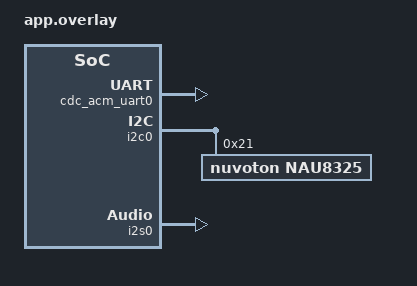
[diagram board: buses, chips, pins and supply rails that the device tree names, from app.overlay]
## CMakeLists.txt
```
# SPDX-License-Identifier: Apache-2.0

cmake_minimum_required(VERSION 3.20.0)

list(APPEND ZEPHYR_EXTRA_MODULES
    ${CMAKE_CURRENT_SOURCE_DIR}/drivers/nau8325
    )

find_package(Zephyr REQUIRED HINTS $ENV{ZEPHYR_BASE})
project(audio)

zephyr_library_include_directories(
    src/audio
)

add_subdirectory(src/audio)

set(SOURCES
    src/main.c
    )

target_sources(app PRIVATE ${SOURCES})
```

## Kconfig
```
source "Kconfig.zephyr"

menuconfig RUMBLEPACK_AUDIO
bool "Rumblepack Config"

if RUMBLEPACK_AUDIO

config AUDIO_BIT_DEPTH_OCTETS
int "Audio bit depth in bytes"
    default 2

config CONFIG_AUDIO_BIT_DEPTH_BITS
int "Audio bit depth in bits"
    default 16

config AUDIO_SAMPLE_RATE_HZ
int "Sample rate in Hz"
    default 48000

config FIFO_FRAME_SPLIT_NUM
int "Duration of frames to split in ms"
    default 10

config I2S_LRCK_FREQ_HZ
int "LRCK Freqeuncy, should be same as sample rate"
    default AUDIO_SAMPLE_RATE_HZ

config I2S_CH_NUM
int "Number of channels"
    default 2

config AUDIO_MAX_PRES_DLY_US
int "Maximum delay in us"
    default 60000

endif # RUMBLEPACK_AUDIO
```

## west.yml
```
manifest:
  remotes:
    - name: ncs
      url-base: https://github.com/nrfconnect
    - name: nanopb
      url-base: https://github.com/nanopb
  projects:
    - name: sdk-nrf
      remote: ncs
      path: nrf
      revision: v2.7.0
      import: true
      clone-depth: 1
    - name: nanopb
      repo-path: nanopb
      revision: 0.4.7
      path: rumble/ext/nanopb
      remote: nanopb
  self:
    path: rumble
```

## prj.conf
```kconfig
CONFIG_BOOTLOADER_MCUBOOT=y
CONFIG_BT=y
CONFIG_BT_HCI_RAW=y

CONFIG_PINCTRL=y
CONFIG_CLOCK_CONTROL_NRF_K32SRC_RC=n
CONFIG_CLOCK_CONTROL_NRF_K32SRC_XTAL=y
CONFIG_NRF53_SYNC_RTC=n
CONFIG_DEBUG_THREAD_INFO=n
CONFIG_DEBUG_OPTIMIZATIONS=n
# CONFIG_THREAD_NAME=y
# CONFIG_SCHED_CPU_MASK=y
# CONFIG_THREAD_ANALYZER=y
# CONFIG_NRF_USBD_COMMON=y
CONFIG_STDOUT_CONSOLE=n

#USB related configs
CONFIG_USB_DEVICE_STACK=y
CONFIG_USB_DEVICE_PRODUCT="Rumblejack"
CONFIG_USB_DEVICE_MANUFACTURER="Jom"
CONFIG_USB_DEVICE_INITIALIZE_AT_BOOT=n

#USB audio related configs
CONFIG_USB_DEVICE_AUDIO=y

#LOG subsystem related configs
CONFIG_LOG=n
# CONFIG_USB_DRIVER_LOG_LEVEL_INF=y
# CONFIG_USB_DEVICE_LOG_LEVEL_INF=y
CONFIG_CONSOLE=n
# CONFIG_USE_SEGGER_RTT=y
# CONFIG_RTT_CONSOLE=y
# CONFIG_LOG_MODE_DEFERRED=y

CONFIG_I2C_NRFX=y

#net buf options
CONFIG_NET_BUF=y

# GPIO
CONFIG_GPIO=y

# I2C
CONFIG_I2C=y

# I2S
CONFIG_I2S=y

CONFIG_NAU8325=y
CONFIG_USB_NRFX_WORK_QUEUE_STACK_SIZE=4096
CONFIG_USB_NRFX_EVT_QUEUE_SIZE=64
CONFIG_USB_DEVICE_VID=0xFACE
CONFIG_USB_DEVICE_PID=0xB00C
```

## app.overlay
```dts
/*
 * Copyright (c) 2019 Nordic Semiconductor ASA
 *
 * SPDX-License-Identifier: Apache-2.0
 */

&zephyr_udc0 {
	hp_0 {
		compatible = "usb-audio-hp";
		feature-mute;
		channel-l;
		channel-r;		
		
		feature-volume;
		volume-max = <0x0500>;
		volume-min = <0xBA00>;
		volume-res = <0x100>;
	};
};

&i2c0 {
	status="okay";

	nau8325: nau8325@21 {
		compatible = "nuvoton,nau8325";
		reg = <0x21>;
	};
};

&i2s0 {
	status="okay";
};

&clock {
	hfclkaudio-frequency = < 12288000 >;
};

&zephyr_udc0 {
	cdc_acm_uart0: cdc_acm_uart0 {
		compatible = "zephyr,cdc-acm-uart";
	};
};
```

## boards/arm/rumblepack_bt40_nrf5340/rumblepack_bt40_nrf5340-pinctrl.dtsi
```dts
&pinctrl{
    i2c0_default: i2c0_default {
		group1 {
			psels = <NRF_PSEL(TWIM_SDA, 1, 3)>,
				    <NRF_PSEL(TWIM_SCL, 1, 2)>;
            bias-disable;
		};
	};

	i2c0_sleep: i2c0_sleep {
		group1 {
			psels = <NRF_PSEL(TWIM_SDA, 1, 3)>,
				    <NRF_PSEL(TWIM_SCL, 1, 2)>;
			low-power-enable;
		};
	};

    i2s0_default: i2s0_default {
        group1 {
            psels = <NRF_PSEL(I2S_SCK_M, 0, 2)>,
                    <NRF_PSEL(I2S_MCK, 0, 3)>,
                    <NRF_PSEL(I2S_SDOUT, 0, 5)>,
                    <NRF_PSEL(I2S_LRCK_M, 0, 4)>;
        };
    };
    i2s0_sleep: i2s0_sleep {
        group1 {
            psels = <NRF_PSEL(I2S_SCK_M, 0, 2)>,
                    <NRF_PSEL(I2S_MCK, 0, 3)>,
                    <NRF_PSEL(I2S_SDOUT, 0, 5)>,
                    <NRF_PSEL(I2S_LRCK_M, 0, 4)>;
            low-power-enable;
        };
    };
};
```

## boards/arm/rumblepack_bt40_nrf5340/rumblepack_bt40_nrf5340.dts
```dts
// Copyright (c) 2023 Nordic Semiconductor ASA
// SPDX-License-Identifier: Apache-2.0

/dts-v1/;
#include <nordic/nrf5340_cpuapp_qkaa.dtsi>
#include "rumblepack_bt40_nrf5340-pinctrl.dtsi"

/ {
	model = "rumblepack_BT40_nrf5340";
	compatible = "jom,rumblepack-bt40-nrf5340";

	chosen {
		zephyr,sram = &sram0;
		zephyr,flash = &flash0;
		zephyr,code-partition = &slot0_partition;
        zephyr,ipc_shm = &sram0_shared;
    };
	
    reserved-memory {
        #address-cells = <1>;
        #size-cells = <1>;
        ranges;


        //sram0_ns: image_ns@20000000 {
            /* Non-Secure image memory */
        //};
        sram0_shared: memory@20070000 {
            /* SRAM allocated to shared memory */
            reg = <0x20070000 0x10000>;
        };
    };

	leds {
		compatible = "gpio-leds";

		led0: led_0 {
			gpios = < &gpio0 11 GPIO_ACTIVE_LOW >;
			label = "Status LED";
		};
	};

	buttons {
		compatible = "gpio-keys";

		button0: button_0 {
			gpios = < &gpio0 30 (GPIO_PULL_UP | GPIO_ACTIVE_LOW) >;
			label = "DFU Switch";
		};
	};

	aliases {
		led0 = &led0;
		sw0 = &button0;
	};
};

&gpiote {
	status = "okay";
};

&gpio0 {
	status = "okay";
};

&i2s0 {
	status = "okay";
	pinctrl-0 = <&i2s0_default>;
	pinctrl-1 = <&i2s0_sleep>;
	pinctrl-names = "default", "sleep";
	clock-source = "ACLK";
};

&i2c0 {
	compatible = "nordic,nrf-twim";
	status = "okay";
	pinctrl-0 = <&i2c0_default>;
	pinctrl-1 = <&i2c0_sleep>;
	pinctrl-names = "default", "sleep";
};

&clock {
	hfclkaudio-frequency = < 12288000 >;
};


&flash0 {
	partitions {
		compatible = "fixed-partitions";
		#address-cells = <1>;
		#size-cells = <1>;

		boot_partition: partition@0 {
			label = "mcuboot";
			reg = <0x0 0x10000>;
		};
		slot0_partition: partition@10000 {
			label = "image-0";
			reg = <0x10000 0x40000>;
		};
		slot0_ns_partition: partition@50000 {
			label = "image-0-nonsecure";
			reg = <0x50000 0x30000>;
		};
		slot1_partition: partition@80000 {
			label = "image-1";
			reg = <0x80000 0x40000>;
		};
		slot1_ns_partition: partition@c0000 {
			label = "image-1-nonsecure";
			reg = <0xc0000 0x30000>;
		};
		scratch_partition: partition@f0000 {
			label = "image-scratch";
			reg = <0xf0000 0xa000>;
		};
		storage_partition: partition@fa000 {
			label = "storage";
			reg = <0xfa000 0x6000>;
		};
	};
};

zephyr_udc0: &usbd {
	compatible = "nordic,nrf-usbd";
	status = "okay";
};
```

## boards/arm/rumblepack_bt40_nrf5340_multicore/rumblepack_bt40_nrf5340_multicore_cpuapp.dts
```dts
/*
 * Copyright (c) 2020 Nordic Semiconductor ASA
 *
 * SPDX-License-Identifier: Apache-2.0
 */

/dts-v1/;
#include <nordic/nrf5340_cpuapp_qkaa.dtsi>
#include "rumblepack_bt40_nrf5340_multicore_cpuapp_common.dtsi"

/ {
	model = "Rumblepack BT40 nRF5340 Multicore NRF5340 Application";
	compatible = "jom,rumblepack-bt40-nrf5340-multicore-cpuapp";

	chosen {
		zephyr,sram = &sram0_image;
		zephyr,flash = &flash0;
		zephyr,code-partition = &slot0_partition;
		zephyr,sram-secure-partition = &sram0_s;
		zephyr,sram-non-secure-partition = &sram0_ns;
	};
};

&uicr {
	nfct-pins-as-gpios;
};
```

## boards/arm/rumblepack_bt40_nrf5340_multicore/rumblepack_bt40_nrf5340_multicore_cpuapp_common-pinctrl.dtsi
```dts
/*
 * Copyright (c) 2022 Nordic Semiconductor ASA
 *
 * SPDX-License-Identifier: Apache-2.0
 */

&pinctrl {
	i2c0_default: i2c0_default {
		group1 {
			psels = <NRF_PSEL(TWIM_SDA, 1, 3)>,
				    <NRF_PSEL(TWIM_SCL, 1, 2)>;
            bias-disable;
		};
	};

	i2c0_sleep: i2c0_sleep {
		group1 {
			psels = <NRF_PSEL(TWIM_SDA, 1, 3)>,
				    <NRF_PSEL(TWIM_SCL, 1, 2)>;
			low-power-enable;
		};
	};

    i2s0_default: i2s0_default {
        group1 {
            psels = <NRF_PSEL(I2S_SCK_M, 0, 2)>,
                    <NRF_PSEL(I2S_MCK, 0, 3)>,
                    <NRF_PSEL(I2S_SDOUT, 0, 5)>,
                    <NRF_PSEL(I2S_LRCK_M, 0, 4)>;
        };
    };
    i2s0_sleep: i2s0_sleep {
        group1 {
            psels = <NRF_PSEL(I2S_SCK_M, 0, 2)>,
                    <NRF_PSEL(I2S_MCK, 0, 3)>,
                    <NRF_PSEL(I2S_SDOUT, 0, 5)>,
                    <NRF_PSEL(I2S_LRCK_M, 0, 4)>;
            low-power-enable;
        };
    };
};
```

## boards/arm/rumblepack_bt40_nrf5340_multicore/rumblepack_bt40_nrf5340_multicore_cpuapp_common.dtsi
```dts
/*
 * Copyright (c) 2020-2022 Nordic Semiconductor ASA
 *
 * SPDX-License-Identifier: Apache-2.0
 */
#include "rumblepack_bt40_nrf5340_multicore_cpuapp_common-pinctrl.dtsi"

/ {
	chosen {
		zephyr,bt-hci-ipc = &ipc0;
		watchdog0 = &wdt0;
	};
};

&gpiote {
	status = "okay";
};

&gpio0 {
	status = "okay";
};

&i2s0 {
	status = "okay";
	pinctrl-0 = <&i2s0_default>;
	pinctrl-1 = <&i2s0_sleep>;
	pinctrl-names = "default", "sleep";
	clock-source = "ACLK";
};

&i2c0 {
	compatible = "nordic,nrf-twim";
	status = "okay";
	pinctrl-0 = <&i2c0_default>;
	pinctrl-1 = <&i2c0_sleep>;
	pinctrl-names = "default", "sleep";
};

&clock {
	hfclkaudio-frequency = < 12288000 >;
};

&flash0 {
	partitions {
		compatible = "fixed-partitions";
		#address-cells = <1>;
		#size-cells = <1>;

		boot_partition: partition@0 {
			label = "mcuboot";
			reg = <0x00000000 0x00010000>;
		};
		slot0_partition: partition@10000 {
			label = "image-0";
		};
		slot0_ns_partition: partition@50000 {
			label = "image-0-nonsecure";
		};
		slot1_partition: partition@80000 {
			label = "image-1";
		};
		slot1_ns_partition: partition@c0000 {
			label = "image-1-nonsecure";
		};
		storage_partition: partition@fa000 {
			label = "storage";
			reg = <0x000fa000 0x00006000>;
		};
	};
};

/ {
	reserved-memory {
		#address-cells = <1>;
		#size-cells = <1>;
		ranges;

		sram0_image: image@20000000 {
			/* Zephyr image(s) memory */
		};

		sram0_s: image_s@20000000 {
			/* Secure image memory */
		};

		sram0_ns: image_ns@20040000 {
			/* Non-Secure image memory */
		};
	};
};

zephyr_udc0: &usbd {
	compatible = "nordic,nrf-usbd";
	status = "okay";
};

/* Include partition configuration file */
#include "rumblepack_bt40_nrf5340_multicore_cpuapp_partition_conf.dtsi"
#include "rumblepack_bt40_nrf5340_multicore_shared.dtsi"
```

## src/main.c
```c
/*
 * Copyright (c) 2020 Nordic Semiconductor ASA
 *
 * SPDX-License-Identifier: Apache-2.0
 */

/**
 * @file
 * @brief Sample app for Audio class
 */

#include <zephyr/kernel.h>
#include <zephyr/init.h>
#include <zephyr/drivers/gpio.h>

#include <zephyr/logging/log.h>
#include <zephyr/usb/usb_device.h>
#include <zephyr/usb/class/usb_audio.h>
#include <zephyr/usb/class/usb_hid.h>

#include <nrfx_nvmc.h>

#include <nau8325.h>
#include <zephyr/drivers/i2s.h>

LOG_MODULE_REGISTER(main, LOG_LEVEL_INF);

// static const struct device *const mic_dev = DEVICE_DT_GET_ONE(usb_audio_mic);
static const struct gpio_dt_spec led = GPIO_DT_SPEC_GET(DT_ALIAS(led0), gpios);
static const struct gpio_dt_spec button = GPIO_DT_SPEC_GET(DT_ALIAS(sw0), gpios);
static struct gpio_callback button_cb_data;
static const struct device *const audio_output_dev = DEVICE_DT_GET(DT_INST(0, nuvoton_nau8325));
static const struct device *const i2s_dev = DEVICE_DT_GET(DT_N_NODELABEL_i2s0);

#define NUM_SAMPLES 48
static int16_t data_l[NUM_SAMPLES] = {
	  6392,  12539,  18204,  23169,  27244,  30272,  32137,  32767,  32137,
	 30272,  27244,  23169,  18204,  12539,   6392,      0,  -6393, -12540,
	-18205, -23170, -27245, -30273, -32138, -32767, -32138, -30273, -27245,
	-23170, -18205, -12540,  -6393,     -1,
};
static int16_t data_r[NUM_SAMPLES] = {
	 12539,  23169,  30272,  32767,  30272,  23169,  12539,      0, -12540,
	-23170, -30273, -32767, -30273, -23170, -12540,     -1,  12539,  23169,
	 30272,  32767,  30272,  23169,  12539,      0, -12540, -23170, -30273,
	-32767, -30273, -23170, -12540,     -1,
};
#define BLOCK_SIZE (2 * sizeof(data_l))
#define NUM_BLOCKS 5

#define NUM_VOLUME_LEVELS 5
static uint16_t volumes[NUM_VOLUME_LEVELS] = {1, 2, 4, 8, 16};
static uint8_t next_volume_level = 0;
static uint8_t current_volume_level = 0;

// 48 uint16 * 2 channels = 48 * 2 * 2 = 192 bytes
static K_MEM_SLAB_DEFINE(mem_slab, BLOCK_SIZE, NUM_BLOCKS, 32);
void *mem_blocks;

static void data_received(const struct device *dev,
			  struct net_buf *buffer,
			  size_t size)
{
	if (!buffer || !size) {
		/* This should never happen */
		return;
	}

	// if (size < 192)
	// {
	// 	net_buf_unref(buffer);
	// 	return;
	// }

	if (size != 192)
	{
		LOG_ERR("Buffer not 192, got %d", size);
		net_buf_unref(buffer);
		return;
	}


	LOG_DBG("Received %d data, buffer %p", size, buffer);

	if (mem_blocks != NULL)
	{
		for (int i = 0; i < size; i++) {
			((uint8_t*)mem_blocks)[i] = buffer->data[i];
		}

		int res = 0;
		
		if (device_is_ready(i2s_dev))
		{
			res = i2s_trigger(i2s_dev, I2S_DIR_TX, I2S_TRIGGER_PREPARE);

			res = i2s_buf_write(i2s_dev, mem_blocks, BLOCK_SIZE);
			if (res < 0) {
				LOG_INF("Error: i2s_write failed with %d\n", res);
			}

			res = i2s_trigger(i2s_dev, I2S_DIR_TX, I2S_TRIGGER_START);
		}
	}
	
	net_buf_unref(buffer);

	if (next_volume_level != current_volume_level)
	{
		nau8325_write_reg(audio_output_dev, 0x63, volumes[next_volume_level]); // ANALOG_CONTROL_3, volume
		LOG_INF("Setting volume to: %d at %d", volumes[next_volume_level], next_volume_level);
		current_volume_level = next_volume_level;
	}
}

static void feature_update(const struct device *dev,
			   const struct usb_audio_fu_evt *evt)
{
	int16_t val = 0;
	LOG_DBG("Control selector %d for channel %d updated",
		evt->cs, evt->channel);
	switch (evt->cs) {
	case USB_AUDIO_FU_MUTE_CONTROL:
		val = *((int16_t *)(evt->val));
		// val = 1, mute
		// val = 0, 256, unmute
		LOG_INF("Mute control: %d, len: %d", val, evt->val_len);
		break;
	case USB_AUDIO_FU_VOLUME_CONTROL:
		val = *((int16_t *)(evt->val));
		// val = -14592, -12800, ... 0, 256, 512, 768, 1024, 1280
		LOG_INF("Volume control: %d, len: %d", val, evt->val_len);
		break;
	default:
		break;
	}
}

static const struct usb_audio_ops hp_ops = {
	.data_received_cb = data_received,
	.feature_update_cb = feature_update,
};

static const struct usb_audio_ops mic_ops = {
	.feature_update_cb = feature_update,
};

void button_pressed(const struct device *dev, struct gpio_callback *cb, uint32_t pins)
{
	next_volume_level = (current_volume_level + 1) % NUM_VOLUME_LEVELS;
}

int main(void)
{
#if 0 // nrf52840
	if (NRF_UICR->REGOUT0 != UICR_REGOUT0_VOUT_3V3)
	{
		NRF_NVMC->CONFIG = NVMC_CONFIG_WEN_Wen << NVMC_CONFIG_WEN_Pos;
		while (NRF_NVMC->READY == NVMC_READY_READY_Busy)
		{
		}
		NRF_UICR->REGOUT0 = UICR_REGOUT0_VOUT_3V3;

		NRF_NVMC->CONFIG = NVMC_CONFIG_WEN_Ren << NVMC_CONFIG_WEN_Pos;
		while (NRF_NVMC->READY == NVMC_READY_READY_Busy)
		{
		}
	}
#else // nrf5340
	if (NRF_UICR->VREGHVOUT != UICR_VREGHVOUT_VREGHVOUT_3V3)
	{
		NRF_NVMC->CONFIG = NVMC_CONFIG_WEN_Wen << NVMC_CONFIG_WEN_Pos;
		while (NRF_NVMC->READY == NVMC_READY_READY_Busy)
		{
		}
		NRF_UICR->VREGHVOUT = UICR_VREGHVOUT_VREGHVOUT_3V3;

		NRF_NVMC->CONFIG = NVMC_CONFIG_WEN_Ren << NVMC_CONFIG_WEN_Pos;
		while (NRF_NVMC->READY == NVMC_READY_READY_Busy)
		{
		}
	}
#endif

	if (!device_is_ready(led.port))
	{
		LOG_ERR("LED not ready");
		return 0;
	}

	gpio_pin_configure_dt(&led, GPIO_OUTPUT_ACTIVE);
	gpio_pin_set_dt(&led, 0);
	k_msleep(100);
	gpio_pin_set_dt(&led, 1);
	k_msleep(50);
	gpio_pin_set_dt(&led, 0);
	k_msleep(25);
	gpio_pin_set_dt(&led, 1);
	k_msleep(12);
	gpio_pin_set_dt(&led, 0);
	k_msleep(5);
	gpio_pin_set_dt(&led, 1);
	k_msleep(1);
	gpio_pin_set_dt(&led, 0);

	const struct device *const hp_dev = DEVICE_DT_GET_ONE(usb_audio_hp);
	int ret;

	LOG_INF("Entered %s", __func__);

	if (!device_is_ready(hp_dev)) {
		LOG_ERR("Device USB Headphones is not ready");
		return 0;
	}

	LOG_INF("Found USB Headphones Device");

	usb_audio_register(hp_dev, &hp_ops);

	ret = usb_enable(NULL);
	if (ret != 0) {
		LOG_ERR("Failed to enable USB");
		return 0;
	}

	gpio_pin_configure_dt(&led, GPIO_OUTPUT_ACTIVE);
	gpio_pin_set_dt(&led, 0);
	k_msleep(100);
	gpio_pin_set_dt(&led, 1);
	k_msleep(50);
	gpio_pin_set_dt(&led, 0);
	k_msleep(25);
	gpio_pin_set_dt(&led, 1);
	k_msleep(12);
	gpio_pin_set_dt(&led, 0);
	k_msleep(5);
	gpio_pin_set_dt(&led, 1);
	k_msleep(1);
	gpio_pin_set_dt(&led, 0);

	if (!device_is_ready(audio_output_dev)) {
		LOG_ERR("Could not initialize audio device!");
	}

	uint16_t value;

	int res = nau8325_write_reg(audio_output_dev, 0x0, 42); // Software Reset
	nau8325_read_reg(audio_output_dev, 0x2, &value);
	LOG_INF("Result: %d", value); // Should be 0x21F2
	nau8325_write_reg(audio_output_dev, 0x0D, 0b0000000000000010); // 16 bit I2S
	nau8325_write_reg(audio_output_dev, 0x40, 0b1010100000000001); // DAC data does not gate power up
	nau8325_write_reg(audio_output_dev, 0x65, 0b0000000000000111); // enable 8x MCLK and extra multipliers
	nau8325_write_reg(audio_output_dev, 0x03, 0b0000000000100000); // MCLK x8
	nau8325_write_reg(audio_output_dev, 0x61, 0b0001010101010101); // Enable everything through clock detection
	nau8325_write_reg(audio_output_dev, 0x63, 0b0000000000000001); // ANALOG_CONTROL_3, volume
	nau8325_write_reg(audio_output_dev, 0x04, 0b0000000000001100); // Enable L and R DAC (required)
	nau8325_write_reg(audio_output_dev, 0x13, 0xf3f3); // DAC Volume
	nau8325_write_reg(audio_output_dev, 0x73, 0x0); // Unregulated DAC

	LOG_INF("USB enabled");

	if (!gpio_is_ready_dt(&button))
	{
		LOG_INF("%s is not ready\n", button.port->name);
		return 0;
	}

	ret = gpio_pin_configure_dt(&button, GPIO_INPUT);
	if (ret != 0) {
		LOG_INF("Error %d: failed to configure %s pin %d\n",
		       ret, button.port->name, button.pin);
		return 0;
	}

	ret = gpio_pin_interrupt_configure_dt(&button,
					      GPIO_INT_EDGE_TO_INACTIVE);
	if (ret != 0) {
		LOG_INF("Error %d: failed to configure interrupt on %s pin %d\n",
			ret, button.port->name, button.pin);
		return 0;
	}

	gpio_init_callback(&button_cb_data, button_pressed, BIT(button.pin));
	gpio_add_callback(button.port, &button_cb_data);

	const struct device *i2s_dev = DEVICE_DT_GET(DT_NODELABEL(i2s0));
	if (!device_is_ready(i2s_dev)) {
		LOG_INF("%s is not ready\n", i2s_dev->name);
		return 0;
	}

	/* Configure the I2S device */
	struct i2s_config i2s_cfg;
	i2s_cfg.word_size = 16; // due to int16_t in data_frame declaration
	i2s_cfg.channels = 2; // L + R channel
	i2s_cfg.format = I2S_FMT_DATA_FORMAT_I2S;
	i2s_cfg.options = I2S_OPT_BIT_CLK_MASTER | I2S_OPT_FRAME_CLK_MASTER;
	i2s_cfg.frame_clk_freq = 48000;
	i2s_cfg.mem_slab = &mem_slab;
	i2s_cfg.block_size = BLOCK_SIZE;
	i2s_cfg.timeout = 50;
	res = i2s_configure(i2s_dev, I2S_DIR_TX, &i2s_cfg);
	if (res < 0) {
		LOG_INF("Failed to configure the I2S stream: (%d)\n", res);
		return 0;
	}

	LOG_INF("i2s configured");

	res = k_mem_slab_alloc(&mem_slab, &mem_blocks, K_NO_WAIT);
	if (res < 0) {
		LOG_INF("Failed to allocate the memory blocks: %d\n", res);
		return 0;
	}

	LOG_INF("mem slab allocd");

	memset((uint16_t*)mem_blocks, 0, NUM_SAMPLES * NUM_BLOCKS);

	LOG_INF("Initialized.");

	next_volume_level = 0;

	return 0;
}
```

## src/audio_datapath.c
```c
#include "audio_datapath.h"

#include <zephyr/kernel.h>

#include "audio_i2s.h"
#include "audio_system.h"
#include "configs.h"

#include <zephyr/logging/log.h>
LOG_MODULE_REGISTER(audio_datapath, LOG_LEVEL_INF);

#define BLK_PERIOD_US 1000

/* Total sample FIFO period in microseconds */
#define FIFO_SMPL_PERIOD_US (CONFIG_AUDIO_MAX_PRES_DLY_US * 2)
#define FIFO_NUM_BLKS	    NUM_BLKS(FIFO_SMPL_PERIOD_US)
#define MAX_FIFO_SIZE	    (FIFO_NUM_BLKS * BLK_SIZE_SAMPLES(CONFIG_AUDIO_SAMPLE_RATE_HZ) * 2)

int audio_datapath_init(void)
{
	memset(&ctrl_blk, 0, sizeof(ctrl_blk));
	audio_i2s_blk_comp_cb_register(audio_datapath_i2s_blk_complete);
	audio_i2s_init();
	ctrl_blk.datapath_initialized = true;
	ctrl_blk.drift_comp.enabled = true;
	ctrl_blk.pres_comp.enabled = true;

	ctrl_blk.pres_comp.pres_delay_us = CONFIG_BT_AUDIO_PRESENTATION_DELAY_US;

	return 0;
}
```

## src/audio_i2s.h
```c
#ifndef _AUDIO_I2S_H_
#define _AUDIO_I2S_H_

#include <zephyr/kernel.h>

#include "configs.h"

#define FRAME_SIZE_BYTES                                                                           \
	((CONFIG_I2S_LRCK_FREQ_HZ / 1000 * 10) * CONFIG_I2S_CH_NUM * CONFIG_AUDIO_BIT_DEPTH_OCTETS)
#define BLOCK_SIZE_BYTES (FRAME_SIZE_BYTES / CONFIG_FIFO_FRAME_SPLIT_NUM)

/*
 * Calculate the number of samples in a block, divided by the number of samples
 * that will fit within a 32-bit word
 */
#define I2S_SAMPLES_NUM                                                                            \
	(BLOCK_SIZE_BYTES / (CONFIG_AUDIO_BIT_DEPTH_OCTETS) / (32 / CONFIG_AUDIO_BIT_DEPTH_BITS))

/**
 * @brief I2S block complete event callback type
 *
 * @param frame_start_ts I2S frame start timestamp
 * @param rx_buf_released Pointer to the released buffer containing received data
 * @param tx_buf_released Pointer to the released buffer that was used to sent data
 */
typedef void (*i2s_blk_comp_callback_t)(uint32_t frame_start_ts, uint32_t *rx_buf_released,
					uint32_t const *tx_buf_released);

/**
 * @brief Supply the buffers to be used in the next part of the I2S transfer
 *
 * @param tx_buf Pointer to the buffer with data to be sent
 * @param rx_buf Pointer to the buffer for received data
 */
void audio_i2s_set_next_buf(const uint8_t *tx_buf);

/**
 * @brief Start the continuous I2S transfer
 *
 * @param tx_buf Pointer to the buffer with data to be sent
 * @param rx_buf Pointer to the buffer for received data
 */
void audio_i2s_start(const uint8_t *tx_buf);

/**
 * @brief Stop the continuous I2S transfer
 */
void audio_i2s_stop(void);

/**
 * @brief Register callback function for I2S block complete event
 *
 * @param blk_comp_callback Callback function
 */
void audio_i2s_blk_comp_cb_register(i2s_blk_comp_callback_t blk_comp_callback);

/**
 * @brief Initialize I2S module
 */
void audio_i2s_init(void);
#endif /* _AUDIO_I2S_H_ */
```

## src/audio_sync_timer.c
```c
/*
 * Copyright (c) 2023 Nordic Semiconductor ASA
 *
 * SPDX-License-Identifier: LicenseRef-Nordic-5-Clause
 */

#include "audio_sync_timer.h"

#include <zephyr/kernel.h>
#include <zephyr/init.h>
#include <nrfx_dppi.h>
#include <nrfx_i2s.h>
#include <nrfx_ipc.h>
#include <nrfx_rtc.h>
#include <nrfx_timer.h>
#include <nrfx_egu.h>

#include <zephyr/logging/log.h>
LOG_MODULE_REGISTER(audio_sync_timer, LOG_LEVEL_INF);

#define AUDIO_SYNC_TIMER_NET_APP_IPC_EVT_CHANNEL 4
#define AUDIO_SYNC_TIMER_NET_APP_IPC_EVT	 NRF_IPC_EVENT_RECEIVE_4

#define AUDIO_SYNC_HF_TIMER_INSTANCE_NUMBER 1

#define AUDIO_SYNC_HF_TIMER_I2S_FRAME_START_EVT_CAPTURE_CHANNEL 0
#define AUDIO_SYNC_HF_TIMER_I2S_FRAME_START_EVT_CAPTURE		NRF_TIMER_TASK_CAPTURE0
#define AUDIO_SYNC_HF_TIMER_CURR_TIME_CAPTURE_CHANNEL		1
#define AUDIO_SYNC_HF_TIMER_CURR_TIME_CAPTURE			NRF_TIMER_TASK_CAPTURE1

static const nrfx_timer_t audio_sync_hf_timer_instance =
	NRFX_TIMER_INSTANCE(AUDIO_SYNC_HF_TIMER_INSTANCE_NUMBER);

static uint8_t dppi_channel_i2s_frame_start;

#define AUDIO_SYNC_LF_TIMER_INSTANCE_NUMBER 0

#define AUDIO_SYNC_LF_TIMER_I2S_FRAME_START_EVT_CAPTURE_CHANNEL 0
#define AUDIO_SYNC_LF_TIMER_I2S_FRAME_START_EVT_CAPTURE		NRF_RTC_TASK_CAPTURE_0
#define AUDIO_SYNC_LF_TIMER_CURR_TIME_CAPTURE_CHANNEL		1
#define AUDIO_SYNC_LF_TIMER_CURR_TIME_CAPTURE			NRF_RTC_TASK_CAPTURE_1

static uint8_t dppi_channel_curr_time_capture;

static const nrfx_rtc_config_t rtc_cfg = NRFX_RTC_DEFAULT_CONFIG;

static const nrfx_rtc_t audio_sync_lf_timer_instance =
	NRFX_RTC_INSTANCE(AUDIO_SYNC_LF_TIMER_INSTANCE_NUMBER);

static uint8_t dppi_channel_timer_sync_with_rtc;
static uint8_t dppi_channel_rtc_start;
static volatile uint32_t num_rtc_overflows;

static nrfx_timer_config_t cfg = {.frequency = NRFX_MHZ_TO_HZ(1UL),
				  .mode = NRF_TIMER_MODE_TIMER,
				  .bit_width = NRF_TIMER_BIT_WIDTH_32,
				  .interrupt_priority = NRFX_TIMER_DEFAULT_CONFIG_IRQ_PRIORITY,
				  .p_context = NULL};

static uint32_t timestamp_from_rtc_and_timer_get(uint32_t ticks, uint32_t remainder_us)
{
	const uint64_t rtc_ticks_in_femto_units = 30517578125UL;
	const uint32_t rtc_overflow_time_us = 512000000UL;

	return ((ticks * rtc_ticks_in_femto_units) / 1000000000UL) +
	       (num_rtc_overflows * rtc_overflow_time_us) + remainder_us;
}

uint32_t audio_sync_timer_capture(void)
{
	/* Ensure that the follow product specification statement is handled:
	 *
	 * There is a delay of 6 PCLK16M periods from when the TASKS_CAPTURE[n] is triggered
	 * until the corresponding CC[n] register is updated.
	 *
	 * Lets have a stale value in the CC[n] register and compare that it is different when
	 * we capture using DPPI.
	 *
	 * We ensure it is stale by setting it as the previous tick relative to current
	 * counter value.
	 */
	uint32_t tick_stale = nrf_rtc_counter_get(audio_sync_lf_timer_instance.p_reg);

	/* Set a stale value in the CC[n] register */
	tick_stale--;
	nrf_rtc_cc_set(audio_sync_lf_timer_instance.p_reg,
		       AUDIO_SYNC_LF_TIMER_CURR_TIME_CAPTURE_CHANNEL, tick_stale);

	/* Trigger EGU task to capture RTC and TIMER value */
	nrf_egu_task_trigger(NRF_EGU0, NRF_EGU_TASK_TRIGGER0);

	/* Read captured RTC value */
	uint32_t tick = nrf_rtc_cc_get(audio_sync_lf_timer_instance.p_reg,
				       AUDIO_SYNC_LF_TIMER_CURR_TIME_CAPTURE_CHANNEL);

	/* If required, wait until CC[n] register is updated */
	while (tick == tick_stale) {
		tick = nrf_rtc_cc_get(audio_sync_lf_timer_instance.p_reg,
				      AUDIO_SYNC_LF_TIMER_CURR_TIME_CAPTURE_CHANNEL);
	}

	/* Read captured TIMER value */
	uint32_t remainder_us =
		nrf_timer_cc_get(NRF_TIMER1, AUDIO_SYNC_HF_TIMER_CURR_TIME_CAPTURE_CHANNEL);

	return timestamp_from_rtc_and_timer_get(tick, remainder_us);
}

uint32_t audio_sync_timer_capture_get(void)
{
	uint32_t remainder_us;
	uint32_t tick;

	tick = nrf_rtc_cc_get(audio_sync_lf_timer_instance.p_reg,
			      AUDIO_SYNC_LF_TIMER_I2S_FRAME_START_EVT_CAPTURE_CHANNEL);
	remainder_us = nrf_timer_cc_get(NRF_TIMER1,
					AUDIO_SYNC_HF_TIMER_I2S_FRAME_START_EVT_CAPTURE_CHANNEL);

	return timestamp_from_rtc_and_timer_get(tick, remainder_us);
}

static void unused_timer_isr_handler(nrf_timer_event_t event_type, void *ctx)
{
	ARG_UNUSED(event_type);
	ARG_UNUSED(ctx);
}

static void rtc_isr_handler(nrfx_rtc_int_type_t int_type)
{
	if (int_type == NRFX_RTC_INT_OVERFLOW) {
		num_rtc_overflows++;
	}
}

/**
 * @brief Initialize audio sync timer
 *
 * @note The audio sync timers is replicating the controller's clock.
 * The controller starts or clears the sync timer using a PPI signal
 * sent from the controller. This makes the two clocks synchronized.
 *
 * @return 0 if successful, error otherwise
 */
static int audio_sync_timer_init(void)
{
	nrfx_err_t ret;

	ret = nrfx_timer_init(&audio_sync_hf_timer_instance, &cfg, unused_timer_isr_handler);
	if (ret - NRFX_ERROR_BASE_NUM) {
		LOG_ERR("nrfx timer init error: %d", ret);
		return -ENODEV;
	}

	ret = nrfx_rtc_init(&audio_sync_lf_timer_instance, &rtc_cfg, rtc_isr_handler);
	if (ret - NRFX_ERROR_BASE_NUM) {
		LOG_ERR("nrfx rtc init error: %d", ret);
		return -ENODEV;
	}

	IRQ_CONNECT(RTC0_IRQn, IRQ_PRIO_LOWEST, nrfx_rtc_0_irq_handler, NULL, 0);
	nrfx_rtc_overflow_enable(&audio_sync_lf_timer_instance, true);

	/* Initialize capturing of I2S frame start event timestamps */
	ret = nrfx_dppi_channel_alloc(&dppi_channel_i2s_frame_start);
	if (ret - NRFX_ERROR_BASE_NUM) {
		LOG_ERR("nrfx DPPI channel alloc error (I2S frame start): %d", ret);
		return -ENOMEM;
	}

	nrf_timer_subscribe_set(audio_sync_hf_timer_instance.p_reg,
				AUDIO_SYNC_HF_TIMER_I2S_FRAME_START_EVT_CAPTURE,
				dppi_channel_i2s_frame_start);

	/* Initialize capturing of I2S frame start event timestamps at the RTC as well. */
	nrf_rtc_subscribe_set(audio_sync_lf_timer_instance.p_reg,
			      AUDIO_SYNC_LF_TIMER_I2S_FRAME_START_EVT_CAPTURE,
			      dppi_channel_i2s_frame_start);

	nrf_i2s_publish_set(NRF_I2S0, NRF_I2S_EVENT_FRAMESTART, dppi_channel_i2s_frame_start);
	ret = nrfx_dppi_channel_enable(dppi_channel_i2s_frame_start);
	if (ret - NRFX_ERROR_BASE_NUM) {
		LOG_ERR("nrfx DPPI channel enable error (I2S frame start): %d", ret);
		return -EIO;
	}

	/* Initialize capturing of current timestamps */
	ret = nrfx_dppi_channel_alloc(&dppi_channel_curr_time_capture);
	if (ret - NRFX_ERROR_BASE_NUM) {
		LOG_ERR("nrfx DPPI channel alloc error (I2S frame start) - Return value: %d", ret);
		return -ENOMEM;
	}

	nrf_rtc_subscribe_set(audio_sync_lf_timer_instance.p_reg,
			      AUDIO_SYNC_LF_TIMER_CURR_TIME_CAPTURE,
			      dppi_channel_curr_time_capture);

	nrf_timer_subscribe_set(audio_sync_hf_timer_instance.p_reg,
				AUDIO_SYNC_HF_TIMER_CURR_TIME_CAPTURE,
				dppi_channel_curr_time_capture);

	nrf_egu_publish_set(NRF_EGU0, NRF_EGU_EVENT_TRIGGERED0, dppi_channel_curr_time_capture);

	ret = nrfx_dppi_channel_enable(dppi_channel_curr_time_capture);
	if (ret - NRFX_ERROR_BASE_NUM) {
		LOG_ERR("nrfx DPPI channel enable error (I2S frame start) - Return value: %d", ret);
		return -EIO;
	}

	/* Initialize functionality for synchronization between APP and NET core */
	ret = nrfx_dppi_channel_alloc(&dppi_channel_rtc_start);
	if (ret - NRFX_ERROR_BASE_NUM) {
		LOG_ERR("nrfx DPPI channel alloc error (timer clear): %d", ret);
		return -ENOMEM;
	}

	nrf_rtc_subscribe_set(audio_sync_lf_timer_instance.p_reg, NRF_RTC_TASK_CLEAR,
			      dppi_channel_rtc_start);
	nrf_timer_subscribe_set(audio_sync_hf_timer_instance.p_reg, NRF_TIMER_TASK_START,
				dppi_channel_rtc_start);

	nrf_ipc_receive_config_set(NRF_IPC, AUDIO_SYNC_TIMER_NET_APP_IPC_EVT_CHANNEL,
				   NRF_IPC_CHANNEL_4);
	nrf_ipc_publish_set(NRF_IPC, AUDIO_SYNC_TIMER_NET_APP_IPC_EVT, dppi_channel_rtc_start);

	ret = nrfx_dppi_channel_enable(dppi_channel_rtc_start);
	if (ret - NRFX_ERROR_BASE_NUM) {
		LOG_ERR("nrfx DPPI channel enable error (timer clear): %d", ret);
		return -EIO;
	}

	/* Initialize functionality for synchronization between RTC and TIMER */
	ret = nrfx_dppi_channel_alloc(&dppi_channel_timer_sync_with_rtc);
	if (ret - NRFX_ERROR_BASE_NUM) {
		LOG_ERR("nrfx DPPI channel alloc error (timer clear): %d", ret);
		return -ENOMEM;
	}

	nrf_rtc_publish_set(audio_sync_lf_timer_instance.p_reg, NRF_RTC_EVENT_TICK,
			    dppi_channel_timer_sync_with_rtc);
	nrf_timer_subscribe_set(audio_sync_hf_timer_instance.p_reg, NRF_TIMER_TASK_CLEAR,
				dppi_channel_timer_sync_with_rtc);

	nrfx_rtc_tick_enable(&audio_sync_lf_timer_instance, false);

	ret = nrfx_dppi_channel_enable(dppi_channel_timer_sync_with_rtc);
	if (ret - NRFX_ERROR_BASE_NUM) {
		LOG_ERR("nrfx DPPI channel enable error (timer clear): %d", ret);
		return -EIO;
	}

	nrfx_rtc_enable(&audio_sync_lf_timer_instance);

	LOG_DBG("Audio sync timer initialized");

	return 0;
}

SYS_INIT(audio_sync_timer_init, POST_KERNEL, CONFIG_KERNEL_INIT_PRIORITY_DEFAULT);
```

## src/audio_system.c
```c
#include <zephyr/kernel.h>
#include <data_fifo.h>

#include <zephyr/logging/log.h>
LOG_MODULE_REGISTER(main, LOG_LEVEL_INF);

int audio_system_init(void)
{
    int ret;
    ret = audio_usb_init();
    if (ret)
    {
        LOG_ERR("Failed to initialize USB: %d", ret);
    }

}
```

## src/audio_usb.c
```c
#include "audio_usb.h"

#include <zephyr/kernel.h>
#include <zephyr/usb/usb_device.h>
#include <zephyr/usb/class/usb_audio.h>
#include <data_fifo.h>

#include "configs.h"

#include <zephyr/logging/log.h>
LOG_MODULE_REGISTER(audio_usb, LOG_LEVEL_INF);

#define USB_FRAME_SIZE_STEREO                                                                      \
	(((CONFIG_AUDIO_SAMPLE_RATE_HZ * CONFIG_AUDIO_BIT_DEPTH_OCTETS) / 1000) * 2)

static struct data_fifo *fifo_rx;

NET_BUF_POOL_FIXED_DEFINE(pool_out, CONFIG_FIFO_FRAME_SPLIT_NUM, USB_FRAME_SIZE_STEREO, 8,
			  net_buf_destroy);

static uint32_t rx_num_overruns;
static bool rx_first_data;

static void feature_update(const struct device *dev,
			   const struct usb_audio_fu_evt *evt)
{
	uint8_t val = 0;
	LOG_DBG("Control selector %d for channel %d updated",
		evt->cs, evt->channel);
	switch (evt->cs) {
	case USB_AUDIO_FU_MUTE_CONTROL:
		val = &evt->val;
		LOG_INF("Mute control: %d, len: %d", val, evt->val_len);
		break;
	case USB_AUDIO_FU_VOLUME_CONTROL:
		val = &evt->val;
		LOG_INF("Volume control: %d, len: %d", val, evt->val_len);
		break;
	default:
		break;
	}
}

static void data_received(const struct device *dev, struct net_buf *buffer, size_t size)
{
	int ret;
	void *data_in;

	if (fifo_rx == NULL) {
		/* Throwing away data */
		net_buf_unref(buffer);
		return;
	}

	if (buffer == NULL || size == 0 || buffer->data == NULL) {
		/* This should never happen */
		ERR_CHK(-EINVAL);
	}

	/* Receive data from USB */
	if (size != USB_FRAME_SIZE_STEREO) {
		LOG_WRN("Wrong length: %d", size);
		net_buf_unref(buffer);
		return;
	}

	ret = data_fifo_pointer_first_vacant_get(fifo_rx, &data_in, K_NO_WAIT);

    /* RX FIFO can fill up due to retransmissions or disconnect */
	if (ret == -ENOMEM) {
		void *temp;
		size_t temp_size;

		rx_num_overruns++;
		if ((rx_num_overruns % 100) == 1) {
			LOG_WRN("USB RX overrun. Num: %d", rx_num_overruns);
		}

		ret = data_fifo_pointer_last_filled_get(fifo_rx, &temp, &temp_size, K_NO_WAIT);
		ERR_CHK(ret);

		data_fifo_block_free(fifo_rx, temp);

		ret = data_fifo_pointer_first_vacant_get(fifo_rx, &data_in, K_NO_WAIT);
	}

	ERR_CHK_MSG(ret, "RX failed to get block");

	memcpy(data_in, buffer->data, size);

	ret = data_fifo_block_lock(fifo_rx, &data_in, size);
	ERR_CHK_MSG(ret, "Failed to lock block");

	net_buf_unref(buffer);

	if (!rx_first_data) {
		LOG_INF("USB RX first data received.");
		rx_first_data = true;
	}
}

static const struct usb_audio_ops hp_ops = {
	.data_received_cb = data_received,
	.feature_update_cb = feature_update,
};

int audio_usb_start(struct data_fifo *fifo_rx_in)
{
	if (fifo_rx_in == NULL) {
		return -EINVAL;
	}

	fifo_rx = fifo_rx_in;

	return 0;
}

void audio_usb_stop(void)
{
	rx_first_data = false;
	fifo_rx = NULL;
}

int audio_usb_init(void)
{
    int ret;

	const struct device *const hp_dev = DEVICE_DT_GET_ONE(usb_audio_hp);

    if (!device_is_ready(hp_dev)) {
		LOG_ERR("Device USB Headphones is not ready");
		return -EIO;
    }

    usb_audio_register(hp_dev, &hp_ops);

    ret = usb_enable(NULL);
    
    if (ret) {
		LOG_ERR("Failed to enable USB");
		return ret;
    }
    
	LOG_INF("USB Audio initialze");

    return 0;
}
```

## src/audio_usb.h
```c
#ifndef _AUDIO_USB_H_
#define _AUDIO_USB_H_

#include <data_fifo.h>

/**
 * @brief Set fifo buffers to be used by USB module and start sending/receiving data
 *
 * @param fifo_rx_in  Pointer to fifo structure for rx
 *
 * @return 0 if successful, error otherwise
 */
int audio_usb_start(struct data_fifo *fifo_rx_in);

/**
 * @brief Stop sending/receiving data
 *
 * @note The USB device will still be running, but all data sent to
 *       it will be discarded
 */
void audio_usb_stop(void);

/**
 * @brief Stop and disable USB device
 *
 * @return 0 if successful, error otherwise
 */
int audio_usb_disable(void);

/**
 * @brief Register and enable USB device
 *
 * @return 0 if successful, error otherwise
 */
int audio_usb_init(void);

#endif /* _AUDIO_USB_H_ */
```

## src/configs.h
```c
#ifndef _CONFIGS_H_
#define _CONFIGS_H_

#define CONFIG_AUDIO_BIT_DEPTH_OCTETS 2 // 2 = 16-bit
#define CONFIG_AUDIO_SAMPLE_RATE_HZ 48000 // Hz
#define CONFIG_FIFO_FRAME_SPLIT_NUM 10 // ms
#define CONFIG_AUDIO_BIT_DEPTH_BITS 16
#define CONFIG_I2S_LRCK_FREQ_HZ CONFIG_AUDIO_SAMPLE_RATE_HZ
#define CONFIG_I2S_CH_NUM 2
#define CONFIG_AUDIO_MAX_PRES_DLY_US 60000 // us

#endif /* _CONFIGS_H_ */
```
